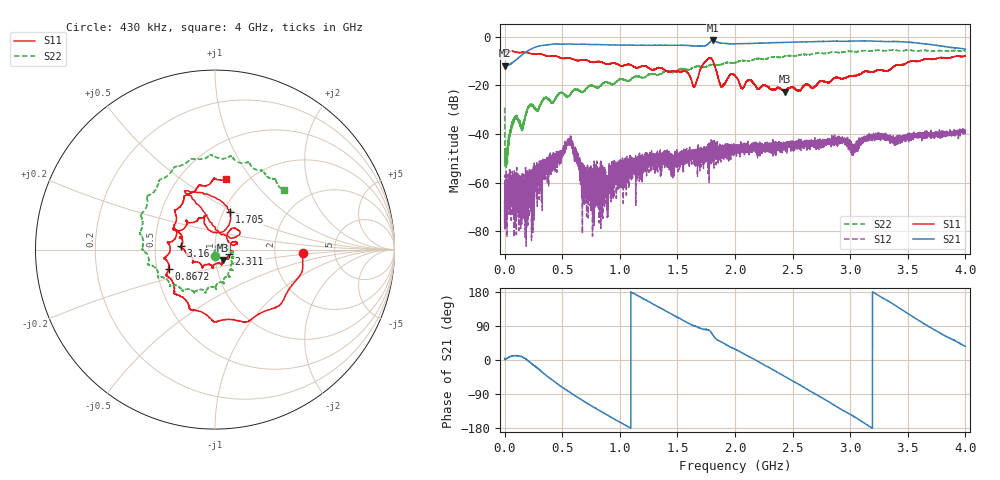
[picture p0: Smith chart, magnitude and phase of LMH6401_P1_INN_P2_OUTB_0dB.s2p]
!Keysight Technologies N9917A: A.08.18
!Date: Saturday, 27 May 2023 16:46:57
!Timezone: (GMT-07:00) Mountain Time (US & Canada)
!Model: N9917A
!Serial: MY52401314
!GPS Latitude:
!GPS Longitude:
!GPS TimeStamp: 0001-01-01 00:00:00Z
!GPS Seconds Since Last Read: 0
!CHECKSUM:0625803421
!Correction: S11(ON U)S21(ON U)S12(ON U)S22(ON U)
!S2P File: Measurements:S11,S21,S12,S22:
# Hz S DB R 50
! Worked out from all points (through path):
!   10000 points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, 430 kHz to 4 GHz, reference 50 ohm
!   highest |S21| = -1.62 dB at 1.806 GHz (marker M1); lowest = -12.0 dB at 430 kHz (marker M2)
!   group delay of S21, straight-line fit = 487 ps
!   lowest |S11| = -22.6 dB at 2.432 GHz (marker M3), VSWR 1.16, Z = 54.4 - j6.38 ohm
!   |S11| at or under -10 dB: 723.9388 MHz to 724.1691 MHz (230.3 kHz wide, 0.0318 % of centre); 725.1 MHz to 1.748 GHz (1.023 GHz wide, 82.7 % of centre); 1.808 GHz to 3.604 GHz (1.796 GHz wide, 66.4 % of centre)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
!   |S22| runs from -53.7 to -5.5 dB; largest |S21 - S12| = 0.84
!   S11 on the Smith chart (normalised r, x): 430 kHz: 2.90, -0.15; 867.2 MHz: 0.58, -0.14; 1.705 GHz: 1.07, +0.48; 2.311 GHz: 1.17, -0.05; 3.16 GHz: 0.68, +0.03; 4 GHz: 0.82, +0.76
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429997  -6.22 -2.3  -11.99 4.5  -75.51 146.2  -29.21 -92.0
2.242983e7  -6.20 -6.2  -11.79 4.4  -59.81 24.9  -48.12 -78.0
9.162931e7  -6.32 -20.1  -9.88 11.3  -61.64 162.6  -32.75 55.0
1.504289e8  -6.57 -35.3  -7.61 8.6  -65.07 52.1  -37.43 67.1
2.172284e8  -6.86 -47.2  -5.48 -5.2  -61.20 131.3  -28.05 47.3
3.020277e8  -7.11 -66.1  -3.88 -25.4  -57.73 100.4  -28.97 26.9
5.596258e8  -8.85 -113.1  -3.07 -83.7  -43.72 -12.3  -24.33 6.7
6.67225e8  -9.75 -130.5  -3.15 -104.7  -54.66 -72.4  -22.84 3.3
8.672235e8  -11.05 -157.1  -3.40 -141.1  -70.33 -56.3  -18.82 -23.4
1.33362e9  -12.80 134.7  -3.57 139.9  -50.47 -67.4  -15.73 -69.6
1.645618e9  -20.62 86.2  -3.92 90.0  -46.18 -109.4  -12.60 -102.4
1.705217e9  -12.90 68.9  -3.92 83.1  -53.28 -115.7  -12.45 -103.7
1.805616e9  -9.73 114.6  -1.62 67.3  -43.18 -100.5  -11.36 -115.7
1.883616e9  -20.76 67.8  -2.72 47.0  -45.42 -119.6  -11.44 -125.0
2.000415e9  -15.99 49.3  -3.02 28.6  -45.01 -130.0  -10.67 -135.8
2.311213e9  -21.80 -16.5  -2.56 -22.5  -44.60 -169.1  -8.57 -166.5
2.431612e9  -22.58 -51.6  -2.40 -43.5  -45.26 -177.0  -8.12 -178.4
2.66681e9  -21.22 -106.2  -2.14 -84.5  -43.80 162.4  -7.30 158.7
3.160406e9  -14.44 173.5  -1.84 -173.9  -40.02 100.9  -5.94 112.4
3.333605e9  -13.86 157.0  -2.08 155.0  -41.03 76.8  -5.76 94.8
3.625203e9  -9.67 121.5  -2.88 98.7  -40.36 50.9  -5.68 69.5
4e9  -8.01 80.8  -5.16 36.0  -38.71 5.6  -5.81 40.7
